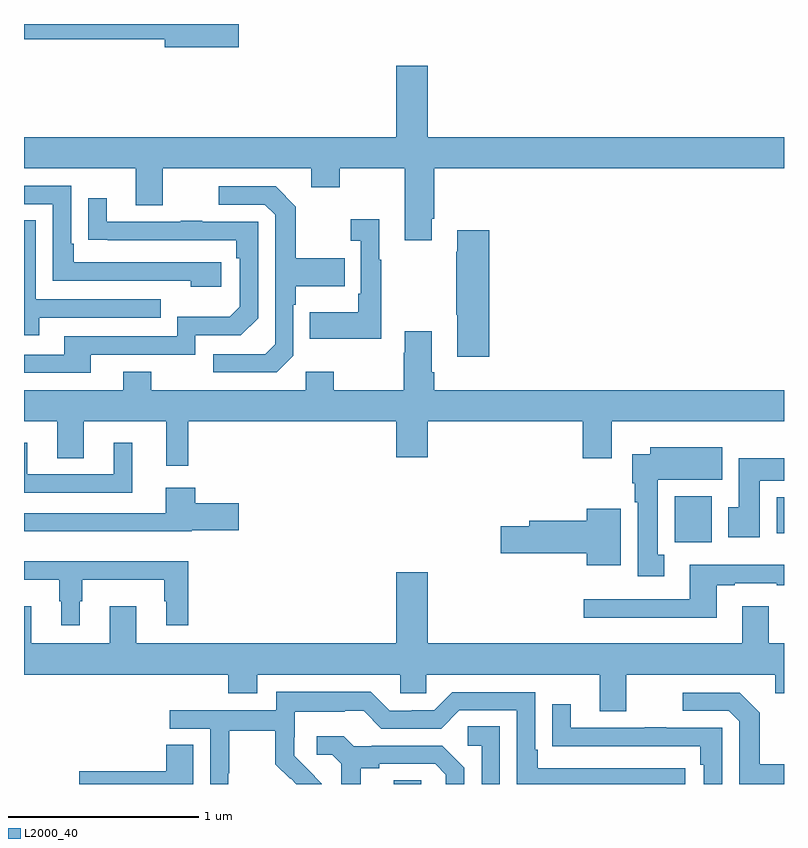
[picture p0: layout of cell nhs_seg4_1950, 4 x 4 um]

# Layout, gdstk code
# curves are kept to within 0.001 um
import gdstk
lib = gdstk.Library(unit=1e-6, precision=1e-09)
def R(c, l, rs):  # rectangles x0, y0, x1, y1
    for r in rs: c.add(gdstk.rectangle(r[:2], r[2:], *l))
def P(c, l, *ps):  # polygons
    for p in ps: c.add(gdstk.Polygon(p, *l))
L2000_40 = (2000, 40)

nhs_seg4_1950 = lib.new_cell('nhs_seg4_1950')
R(nhs_seg4_1950, L2000_40, [(212.945,806.9,213.09,806.921), (214.424,808.172,214.621,808.414), (214.961,808.22,215,808.408)])
P(nhs_seg4_1950, L2000_40, [(212.131,810.9),(211,810.9),(211,810.82),(211.742,810.82),(211.742,810.778),(212.131,810.778)],
  [(213.145,809.875),(213.158,809.875),(213.158,810.14),(215,810.14),(215,810.304),(213.124,810.304),(213.124,810.679),(212.96,810.679),(212.96,810.304),(211,810.304),(211,810.14),(211.589,810.14),(211.589,809.946),(211.729,809.946),(211.729,810.14),(212.513,810.14),(212.513,810.041),(212.661,810.041),(212.661,810.14),(213.005,810.14),(213.005,809.763),(213.145,809.763)],
  [(212.038,809.646),(211.261,809.646),(211.261,809.743),(211.248,809.743),(211.248,810.048),(211,810.048),(211,809.952),(211.152,809.952),(211.152,809.55),(211.877,809.55),(211.877,809.516),(212.038,809.516)],
  [(212.418,809.154),(212.418,809.423),(212.431,809.423),(212.431,809.519),(212.687,809.519),(212.687,809.667),(212.431,809.667),(212.431,809.939),(212.325,810.045),(212.025,810.045),(212.025,809.949),(212.268,809.949),(212.322,809.895),(212.322,809.214),(212.271,809.163),(211.995,809.163),(211.995,809.067),(212.331,809.067)],
  [(211.351,809.16),(211.902,809.16),(211.902,809.262),(212.142,809.262),(212.232,809.352),(212.232,809.859),(211.937,809.859),(211.937,809.864),(211.825,809.864),(211.825,809.859),(211.435,809.859),(211.435,809.983),(211.339,809.983),(211.339,809.764),(212.116,809.763),(212.116,809.666),(212.136,809.666),(212.136,809.412),(212.083,809.359),(211.806,809.359),(211.806,809.256),(211.211,809.256),(211.211,809.16),(211,809.16),(211,809.064),(211.351,809.064)],
  [(212.881,809.659),(212.869,809.659),(212.869,809.872),(212.721,809.872),(212.721,809.759),(212.772,809.759),(212.772,809.479),(212.76,809.479),(212.76,809.383),(212.503,809.383),(212.503,809.243),(212.881,809.243)],
  [(211.081,809.355),(211.721,809.355),(211.721,809.451),(211.062,809.451),(211.062,809.867),(211,809.867),(211,809.261),(211.081,809.261)],
  [(213.449,809.815),(213.281,809.815),(213.281,809.702),(213.274,809.702),(213.274,809.371),(213.281,809.371),(213.281,809.148),(213.449,809.148)],
  [(211.523,809.071),(211.523,808.972),(211,808.972),(211,808.808),(211.175,808.808),(211.175,808.615),(211.315,808.615),(211.315,808.808),(211.748,808.808),(211.748,808.575),(211.865,808.575),(211.865,808.808),(212.96,808.808),(212.96,808.62),(213.124,808.62),(213.124,808.808),(213.941,808.808),(213.941,808.614),(214.093,808.614),(214.093,808.808),(215,808.808),(215,808.972),(213.158,808.972),(213.158,809.068),(213.145,809.068),(213.145,809.284),(213.005,809.284),(213.005,809.171),(212.998,809.171),(212.998,808.972),(212.631,808.972),(212.631,809.071),(212.484,809.071),(212.484,808.972),(211.671,808.972),(211.671,809.071)],
  [(211.571,808.696),(211.472,808.696),(211.472,808.53),(211.018,808.53),(211.018,808.696),(211,808.696),(211,808.434),(211.571,808.434)],
  [(214.369,808.106),(214.336,808.106),(214.336,808.502),(214.675,808.502),(214.675,808.672),(214.295,808.672),(214.295,808.636),(214.202,808.636),(214.202,808.482),(214.214,808.482),(214.214,808.382),(214.229,808.382),(214.229,807.993),(214.369,807.993)],
  [(214.873,808.496),(215,808.496),(215,808.614),(214.763,808.614),(214.763,808.356),(214.706,808.356),(214.706,808.2),(214.873,808.2)],
  [(211.884,808.235),(212.131,808.235),(212.131,808.377),(211.901,808.377),(211.901,808.459),(211.745,808.459),(211.745,808.326),(211,808.326),(211,808.229),(211.884,808.229)],
  [(214.141,808.348),(213.962,808.348),(213.962,808.286),(213.659,808.286),(213.659,808.256),(213.51,808.256),(213.51,808.114),(213.962,808.114),(213.962,808.052),(214.141,808.052)],
  [(211.294,807.863),(211.306,807.863),(211.306,807.974),(211.737,807.974),(211.737,807.863),(211.748,807.863),(211.748,807.735),(211.865,807.735),(211.865,808.072),(211,808.072),(211,807.974),(211.185,807.974),(211.185,807.863),(211.196,807.863),(211.196,807.735),(211.294,807.735)],
  [(214.645,807.945),(214.741,807.945),(214.741,807.957),(214.961,807.957),(214.961,807.945),(215,807.945),(215,808.054),(214.505,808.054),(214.505,807.873),(213.945,807.873),(213.945,807.776),(214.645,807.776)],
  [(214.171,807.476),(214.955,807.476),(214.955,807.377),(215,807.377),(215,807.64),(214.921,807.64),(214.921,807.835),(214.781,807.835),(214.781,807.64),(213.124,807.64),(213.124,808.015),(212.96,808.015),(212.96,807.64),(211.591,807.64),(211.591,807.835),(211.451,807.835),(211.451,807.64),(211.039,807.64),(211.039,807.835),(211,807.835),(211,807.476),(212.075,807.476),(212.075,807.377),(212.227,807.377),(212.227,807.476),(212.979,807.476),(212.979,807.378),(213.117,807.378),(213.117,807.476),(214.031,807.476),(214.031,807.282),(214.171,807.282)],
  [(212.076,806.956),(212.079,806.956),(212.079,807.18),(212.323,807.18),(212.323,807.005),(212.4,806.928),(212.403,806.931),(212.434,806.9),(212.568,806.9),(212.568,806.902),(212.495,806.975),(212.496,806.976),(212.422,807.05),(212.422,807.147),(212.424,807.147),(212.424,807.281),(212.687,807.281),(212.687,807.285),(212.787,807.285),(212.88,807.192),(213.195,807.192),(213.291,807.288),(213.594,807.288),(213.594,806.9),(214.48,806.9),(214.48,806.982),(213.703,806.982),(213.703,807.079),(213.69,807.079),(213.69,807.384),(213.255,807.384),(213.159,807.288),(213.041,807.288),(213.041,807.285),(212.925,807.285),(212.825,807.385),(212.328,807.385),(212.328,807.288),(211.767,807.288),(211.767,807.192),(211.98,807.192),(211.98,806.9),(212.076,806.9)],
  [(215,807.003),(214.873,807.003),(214.873,807.275),(214.767,807.381),(214.467,807.381),(214.467,807.285),(214.71,807.285),(214.764,807.231),(214.764,806.9),(215,806.9)],
  [(214.674,807.195),(214.379,807.195),(214.379,807.2),(214.267,807.2),(214.267,807.195),(213.877,807.195),(213.877,807.319),(213.781,807.319),(213.781,807.1),(213.883,807.1),(213.883,807.099),(214.558,807.099),(214.558,807.002),(214.578,807.002),(214.578,806.9),(214.674,806.9)],
  [(213.504,807.203),(213.336,807.203),(213.336,807.102),(213.408,807.102),(213.408,806.9),(213.504,806.9)],
  [(212.773,806.984),(212.869,806.984),(212.869,807.006),(213.164,807.006),(213.221,806.949),(213.221,806.9),(213.318,806.9),(213.318,806.986),(213.202,807.102),(212.83,807.102),(212.83,807.099),(212.736,807.099),(212.684,807.151),(212.541,807.151),(212.541,807.054),(212.622,807.054),(212.669,807.007),(212.669,806.9),(212.773,806.9)],
  [(211.891,807.107),(211.748,807.107),(211.748,806.966),(211.29,806.966),(211.29,806.9),(211.891,806.9)])

lib.write_gds('nhs_seg4_1950.gds')
